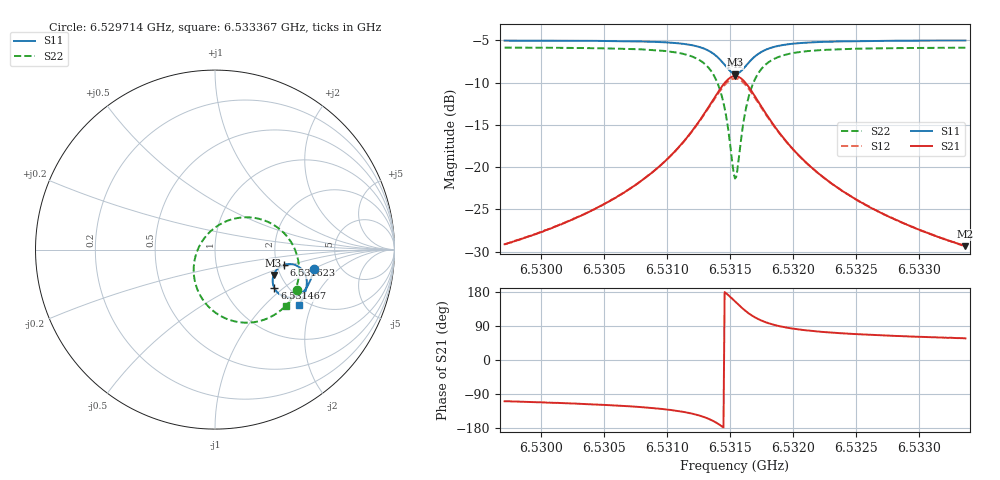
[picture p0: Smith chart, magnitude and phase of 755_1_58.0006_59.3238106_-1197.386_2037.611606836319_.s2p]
#  HZ  S  RI  R  50.00
! Rohde & Schwarz Vector Network Analyzer
! Rohde-Schwarz,ZNB20-2Port,1311601062101988,3.16
! Created: UTC 3/21/2024, 1:24:09 AM
! freq[Hz]  re:S11  im:S11  re:S21  im:S21  re:S12  im:S12  re:S22  im:S22
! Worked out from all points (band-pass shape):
!   401 points, 6.529714 GHz to 6.533367 GHz, reference 50 ohm
!   highest |S21| = -9.23 dB at 6.53154 GHz (marker M1); lowest = -29.4 dB at 6.533367 GHz (marker M2)
!   |S21| within 3 dB of the highest: 6.531359 GHz to 6.531724 GHz (364.6 kHz wide, 0.00558 % of centre)
!   lowest |S11| = -9.0 dB at 6.53154 GHz (marker M3), VSWR 2.11, Z = 92.2 - j30 ohm
!   |S11| at or under -10 dB: nowhere
!   |S22| runs from -21.4 to -5.9 dB; largest |S21 - S12| = 0.015
!   S11 on the Smith chart (normalised r, x): 6.529714 GHz: 3.20, -1.00; 6.531467 GHz: 1.71, -0.87; 6.531623 GHz: 2.19, -0.44; 6.533367 GHz: 1.81, -1.64
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6.5297139e9  0.5498 -0.1072  -0.0113 -0.0331  -0.012 -0.0328  0.4559 -0.2267
6.5303258e9  0.5356 -0.159  -0.0224 -0.0467  -0.0238 -0.0461  0.4186 -0.2846
6.5306546e9  0.5224 -0.1908  -0.0364 -0.06  -0.038 -0.0591  0.3825 -0.3244
6.5309377e9  0.5023 -0.2227  -0.0623 -0.0788  -0.0647 -0.0767  0.3238 -0.3676
6.5311568e9  0.4694 -0.252  -0.1112 -0.0985  -0.1143 -0.0943  0.2265 -0.4027
6.5313121e9  0.4179 -0.2671  -0.1914 -0.099  -0.1931 -0.0903  0.0818 -0.3921
6.5314034e9  0.367 -0.2537  -0.2693 -0.059  -0.2663 -0.0473  -0.0446 -0.3088
6.5314399e9  0.345 -0.2356  -0.3013 -0.0215  -0.2948 -0.0098  -0.0904 -0.2395
6.5314673e9  0.3313 -0.2154  -0.3197 0.0171  -0.3103 0.0278  -0.1131 -0.1717
6.5315221e9  0.3219 -0.1612  -0.324 0.1145  -0.3105 0.1194  -0.1006 -0.0113
6.5315404e9  0.3265 -0.1421  -0.3124 0.1478  -0.2987 0.1502  -0.0755 0.0403
6.5315587e9  0.3352 -0.1242  -0.2946 0.1779  -0.2814 0.1782  -0.0407 0.0862
6.5316226e9  0.3846 -0.0849  -0.2024 0.2426  -0.1942 0.2379  0.1217 0.1753
6.5316591e9  0.4155 -0.0802  -0.1486 0.25  -0.1431 0.245  0.2121 0.1778
6.5316957e9  0.4418 -0.0841  -0.1037 0.243  -0.1001 0.2388  0.2865 0.1581
6.5317504e9  0.4703 -0.0985  -0.055 0.2207  -0.0531 0.2177  0.365 0.1103
6.5318052e9  0.4883 -0.1158  -0.0245 0.1952  -0.0231 0.193  0.4123 0.0589
6.5319422e9  0.5077 -0.154  0.00996 0.1428  0.0113 0.142  0.4604 -0.0446
6.5321523e9  0.5114 -0.1947  0.0227 0.0962  0.024 0.0956  0.4678 -0.1399
6.532408e9  0.5054 -0.2284  0.0241 0.0666  0.0252 0.0664  0.4554 -0.2048
6.5327641e9  0.4928 -0.2634  0.0221 0.0456  0.0229 0.0454  0.4336 -0.2593
6.5333669e9  0.468 -0.31  0.0185 0.0286  0.0191 0.0283  0.3978 -0.3166
